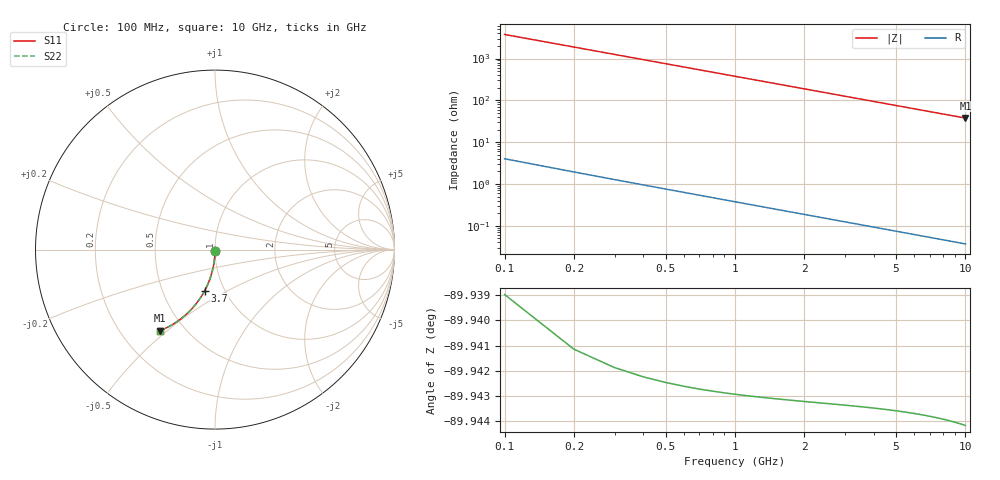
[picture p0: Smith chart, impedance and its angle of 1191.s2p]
# Hz S RI R 50.00
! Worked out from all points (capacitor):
!   100 points, 100 MHz to 10 GHz, reference 50 ohm
!   read as one part in shunt: C = 423 fF near 100 MHz
!   lowest |Z| = 37.7 ohm at 10 GHz (marker M1)
!   S11 on the Smith chart (normalised r, x): 100 MHz: 1.00, -0.01; 3.7 GHz: 0.81, -0.39; 10 GHz: 0.37, -0.47
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1e8  -2.39e-05 -0.00656  0.9999 -0.00673  0.9999 -0.00673  -2.39e-05 -0.00656
2e8  -0.000163 -0.0131  0.9998 -0.0135  0.9998 -0.0135  -0.000163 -0.0131
3e8  -0.00039 -0.0197  0.9996 -0.0202  0.9996 -0.0202  -0.00039 -0.0197
4e8  -0.000705 -0.0262  0.9992 -0.0269  0.9992 -0.0269  -0.000705 -0.0262
5e8  -0.00111 -0.0328  0.9988 -0.0336  0.9988 -0.0336  -0.00111 -0.0328
6e8  -0.0016 -0.0393  0.9983 -0.0403  0.9983 -0.0403  -0.0016 -0.0393
7e8  -0.00218 -0.0458  0.9978 -0.047  0.9978 -0.047  -0.00218 -0.0458
8e8  -0.00284 -0.0523  0.9971 -0.0537  0.9971 -0.0537  -0.00284 -0.0523
9e8  -0.0036 -0.0588  0.9963 -0.0604  0.9963 -0.0604  -0.0036 -0.0588
1.1e9  -0.00536 -0.0718  0.9946 -0.0737  0.9946 -0.0737  -0.00536 -0.0718
1.4e9  -0.00865 -0.091  0.9913 -0.0935  0.9913 -0.0935  -0.00865 -0.091
1.8e9  -0.0142 -0.1164  0.9857 -0.1195  0.9857 -0.1195  -0.0142 -0.1164
2.1e9  -0.0192 -0.1351  0.9807 -0.1387  0.9807 -0.1387  -0.0192 -0.1351
2.5e9  -0.027 -0.1595  0.9729 -0.1639  0.9729 -0.1639  -0.027 -0.1595
2.9e9  -0.036 -0.1834  0.9639 -0.1884  0.9639 -0.1884  -0.036 -0.1834
3.4e9  -0.0488 -0.2121  0.9511 -0.218  0.9511 -0.218  -0.0488 -0.2121
3.7e9  -0.0573 -0.2288  0.9426 -0.2352  0.9426 -0.2352  -0.0573 -0.2288
4.4e9  -0.0791 -0.2657  0.9208 -0.2734  0.9208 -0.2734  -0.0791 -0.2657
5.1e9  -0.1035 -0.2998  0.8964 -0.3087  0.8964 -0.3087  -0.1035 -0.2998
6.7e9  -0.1663 -0.366  0.8336 -0.3778  0.8336 -0.3778  -0.1663 -0.366
8.4e9  -0.2389 -0.4185  0.7609 -0.4334  0.7609 -0.4334  -0.2389 -0.4185
1e10  -0.3081 -0.4524  0.6916 -0.4702  0.6916 -0.4702  -0.3081 -0.4524
